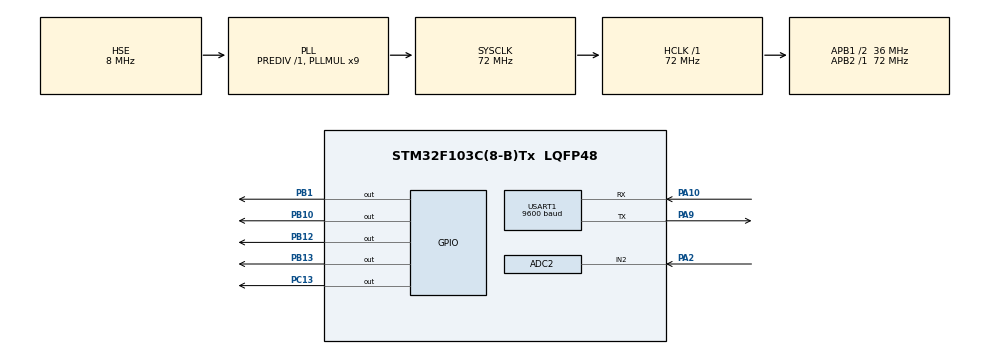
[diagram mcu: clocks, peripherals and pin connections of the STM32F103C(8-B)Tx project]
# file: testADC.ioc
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ADC2.Channel-2\#ChannelRegularConversion=ADC_CHANNEL_2
ADC2.NbrOfConversionFlag=1
ADC2.Rank-2\#ChannelRegularConversion=1
ADC2.SamplingTime-2\#ChannelRegularConversion=ADC_SAMPLETIME_1CYCLE_5
Mcu.Family=STM32F1
Mcu.Name=STM32F103C(8-B)Tx
Mcu.Package=LQFP48
NVIC.PriorityGroup=NVIC_PRIORITYGROUP_4
NVIC.USART1_IRQn=true\:0\:0\:false\:false\:true\:true\:true\:true
PA10.Mode=Asynchronous
PA10.Signal=USART1_RX
PA13.Mode=Serial_Wire
PA13.Signal=SYS_JTMS-SWDIO
PA14.Mode=Serial_Wire
PA14.Signal=SYS_JTCK-SWCLK
PA2.Signal=ADCx_IN2
PA9.Mode=Asynchronous
PA9.Signal=USART1_TX
PB1.GPIO_PuPd=GPIO_PULLDOWN
PB1.Signal=GPIO_Output
PB10.GPIO_PuPd=GPIO_PULLDOWN
PB10.Signal=GPIO_Output
PB12.Signal=GPIO_Output
PB13.Signal=GPIO_Output
PC13-TAMPER-RTC.Signal=GPIO_Output
PC14-OSC32_IN.Mode=LSE-External-Oscillator
PC14-OSC32_IN.Signal=RCC_OSC32_IN
PC15-OSC32_OUT.Mode=LSE-External-Oscillator
PC15-OSC32_OUT.Signal=RCC_OSC32_OUT
PD0-OSC_IN.Mode=HSE-External-Oscillator
PD0-OSC_IN.Signal=RCC_OSC_IN
PD1-OSC_OUT.Mode=HSE-External-Oscillator
PD1-OSC_OUT.Signal=RCC_OSC_OUT
ProjectManager.HeapSize=0x200
ProjectManager.StackSize=0x400
ProjectManager.TargetToolchain=SW4STM32
RCC.ADCPresc=RCC_ADCPCLK2_DIV6
RCC.AHBFreq_Value=72000000
RCC.APB1CLKDivider=RCC_HCLK_DIV2
RCC.APB1Freq_Value=36000000
RCC.APB1TimFreq_Value=72000000
RCC.APB2Freq_Value=72000000
RCC.APB2TimFreq_Value=72000000
RCC.HCLKFreq_Value=72000000
RCC.PLLMUL=RCC_PLL_MUL9
RCC.PLLSourceVirtual=RCC_PLLSOURCE_HSE
RCC.SYSCLKFreq_VALUE=72000000
RCC.SYSCLKSource=RCC_SYSCLKSOURCE_PLLCLK
RCC.USBFreq_Value=72000000
SH.ADCx_IN2.0=ADC2_IN2,IN2
USART1.BaudRate=9600
USART1.VirtualMode=VM_ASYNC
board=custom

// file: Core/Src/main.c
/* USER CODE BEGIN Header */
/**
  ******************************************************************************
  * @file           : main.c
  * @brief          : Main program body
  ******************************************************************************
  * @attention
  *
  * <h2><center>&copy; Copyright (c) 2023 STMicroelectronics.
  * All rights reserved.</center></h2>
  *
  * This software component is licensed by ST under BSD 3-Clause license,
  * the "License"; You may not use this file except in compliance with the
  * License. You may obtain a copy of the License at:
  *                        opensource.org/licenses/BSD-3-Clause
  *
  ******************************************************************************
  */
/* USER CODE END Header */
#include "main.h"

/* USER CODE BEGIN Includes */
#include <stdio.h>
#include <math.h>
#include <stdbool.h>
#include <string.h>
/* USER CODE END Includes */

ADC_HandleTypeDef hadc2;

UART_HandleTypeDef huart1;

void SystemClock_Config(void);
static void MX_GPIO_Init(void);
static void MX_USART1_UART_Init(void);
static void MX_ADC2_Init(void);

/* USER CODE BEGIN 0 */
uint16_t soilMoistureValue;
float v;
float temp;
const int AirValue = 3700;
const int WaterValue = 260;
int phantram;
char receive[15];
char charToTransmit[15];
char charToTransmit[15];
char receive[15];
/* USER CODE END 0 */

int main(void)
{

  /* MCU Configuration--------------------------------------------------------*/

  /* Reset of all peripherals, Initializes the Flash interface and the Systick. */
  HAL_Init();

  /* Configure the system clock */
  SystemClock_Config();

  /* Initialize all configured peripherals */
  MX_GPIO_Init();
  MX_USART1_UART_Init();
  MX_ADC2_Init();
  /* USER CODE BEGIN 2 */
  HAL_UART_Receive_IT(&huart1,receive,1);
  /* USER CODE END 2 */

  /* Infinite loop */
  while (1)
  {

    /* USER CODE BEGIN 3 */
	HAL_ADC_Start(&hadc2);
	HAL_ADC_PollForConversion(&hadc2,100);
	soilMoistureValue = HAL_ADC_GetValue(&hadc2);
	phantram = 100-((soilMoistureValue*100)/3500);
	snprintf(charToTransmit,sizeof(charToTransmit),"2_4_%d ",phantram);
	HAL_UART_Transmit(&huart1,charToTransmit,strlen(charToTransmit),100);
	HAL_Delay(8000);

  }

  /* USER CODE END 3 */
}

void SystemClock_Config(void)
{
  RCC_OscInitTypeDef RCC_OscInitStruct = {0};
  RCC_ClkInitTypeDef RCC_ClkInitStruct = {0};
  RCC_PeriphCLKInitTypeDef PeriphClkInit = {0};

  /** Initializes the RCC Oscillators according to the specified parameters
  * in the RCC_OscInitTypeDef structure.
  */
  RCC_OscInitStruct.OscillatorType = RCC_OSCILLATORTYPE_HSE;
  RCC_OscInitStruct.HSEState = RCC_HSE_ON;
  RCC_OscInitStruct.HSEPredivValue = RCC_HSE_PREDIV_DIV1;
  RCC_OscInitStruct.HSIState = RCC_HSI_ON;
  RCC_OscInitStruct.PLL.PLLState = RCC_PLL_ON;
  RCC_OscInitStruct.PLL.PLLSource = RCC_PLLSOURCE_HSE;
  RCC_OscInitStruct.PLL.PLLMUL = RCC_PLL_MUL9;
  if (HAL_RCC_OscConfig(&RCC_OscInitStruct) != HAL_OK)
  {
    Error_Handler();
  }
  /** Initializes the CPU, AHB and APB buses clocks
  */
  RCC_ClkInitStruct.ClockType = RCC_CLOCKTYPE_HCLK|RCC_CLOCKTYPE_SYSCLK
                              |RCC_CLOCKTYPE_PCLK1|RCC_CLOCKTYPE_PCLK2;
  RCC_ClkInitStruct.SYSCLKSource = RCC_SYSCLKSOURCE_PLLCLK;
  RCC_ClkInitStruct.AHBCLKDivider = RCC_SYSCLK_DIV1;
  RCC_ClkInitStruct.APB1CLKDivider = RCC_HCLK_DIV2;
  RCC_ClkInitStruct.APB2CLKDivider = RCC_HCLK_DIV1;

  if (HAL_RCC_ClockConfig(&RCC_ClkInitStruct, FLASH_LATENCY_2) != HAL_OK)
  {
    Error_Handler();
  }
  PeriphClkInit.PeriphClockSelection = RCC_PERIPHCLK_ADC;
  PeriphClkInit.AdcClockSelection = RCC_ADCPCLK2_DIV6;
  if (HAL_RCCEx_PeriphCLKConfig(&PeriphClkInit) != HAL_OK)
  {
    Error_Handler();
  }
}

static void MX_ADC2_Init(void)
{

  ADC_ChannelConfTypeDef sConfig = {0};

  /** Common config
  */
  hadc2.Instance = ADC2;
  hadc2.Init.ScanConvMode = ADC_SCAN_DISABLE;
  hadc2.Init.ContinuousConvMode = DISABLE;
  hadc2.Init.DiscontinuousConvMode = DISABLE;
  hadc2.Init.ExternalTrigConv = ADC_SOFTWARE_START;
  hadc2.Init.DataAlign = ADC_DATAALIGN_RIGHT;
  hadc2.Init.NbrOfConversion = 1;
  if (HAL_ADC_Init(&hadc2) != HAL_OK)
  {
    Error_Handler();
  }
  /** Configure Regular Channel
  */
  sConfig.Channel = ADC_CHANNEL_2;
  sConfig.Rank = ADC_REGULAR_RANK_1;
  sConfig.SamplingTime = ADC_SAMPLETIME_1CYCLE_5;
  if (HAL_ADC_ConfigChannel(&hadc2, &sConfig) != HAL_OK)
  {
    Error_Handler();
  }

}

static void MX_USART1_UART_Init(void)
{

  huart1.Instance = USART1;
  huart1.Init.BaudRate = 9600;
  huart1.Init.WordLength = UART_WORDLENGTH_8B;
  huart1.Init.StopBits = UART_STOPBITS_1;
  huart1.Init.Parity = UART_PARITY_NONE;
  huart1.Init.Mode = UART_MODE_TX_RX;
  huart1.Init.HwFlowCtl = UART_HWCONTROL_NONE;
  huart1.Init.OverSampling = UART_OVERSAMPLING_16;
  if (HAL_UART_Init(&huart1) != HAL_OK)
  {
    Error_Handler();
  }

}

static void MX_GPIO_Init(void)
{
  GPIO_InitTypeDef GPIO_InitStruct = {0};

  /* GPIO Ports Clock Enable */
  __HAL_RCC_GPIOC_CLK_ENABLE();
  __HAL_RCC_GPIOD_CLK_ENABLE();
  __HAL_RCC_GPIOA_CLK_ENABLE();
  __HAL_RCC_GPIOB_CLK_ENABLE();

  /*Configure GPIO pin Output Level */
  HAL_GPIO_WritePin(GPIOC, GPIO_PIN_13, GPIO_PIN_RESET);

  /*Configure GPIO pin Output Level */
  HAL_GPIO_WritePin(GPIOB, GPIO_PIN_1|GPIO_PIN_10|GPIO_PIN_12|GPIO_PIN_13, GPIO_PIN_RESET);

  /*Configure GPIO pin : PC13 */
  GPIO_InitStruct.Pin = GPIO_PIN_13;
  GPIO_InitStruct.Mode = GPIO_MODE_OUTPUT_PP;
  GPIO_InitStruct.Pull = GPIO_NOPULL;
  GPIO_InitStruct.Speed = GPIO_SPEED_FREQ_LOW;
  HAL_GPIO_Init(GPIOC, &GPIO_InitStruct);

  /*Configure GPIO pins : PB1 PB10 */
  GPIO_InitStruct.Pin = GPIO_PIN_1|GPIO_PIN_10;
  GPIO_InitStruct.Mode = GPIO_MODE_OUTPUT_PP;
  GPIO_InitStruct.Pull = GPIO_PULLDOWN;
  GPIO_InitStruct.Speed = GPIO_SPEED_FREQ_LOW;
  HAL_GPIO_Init(GPIOB, &GPIO_InitStruct);

  /*Configure GPIO pins : PB12 PB13 */
  GPIO_InitStruct.Pin = GPIO_PIN_12|GPIO_PIN_13;
  GPIO_InitStruct.Mode = GPIO_MODE_OUTPUT_PP;
  GPIO_InitStruct.Pull = GPIO_NOPULL;
  GPIO_InitStruct.Speed = GPIO_SPEED_FREQ_LOW;
  HAL_GPIO_Init(GPIOB, &GPIO_InitStruct);

}

void Error_Handler(void)
{
}

/************************ (C) COPYRIGHT STMicroelectronics *****END OF FILE****/
